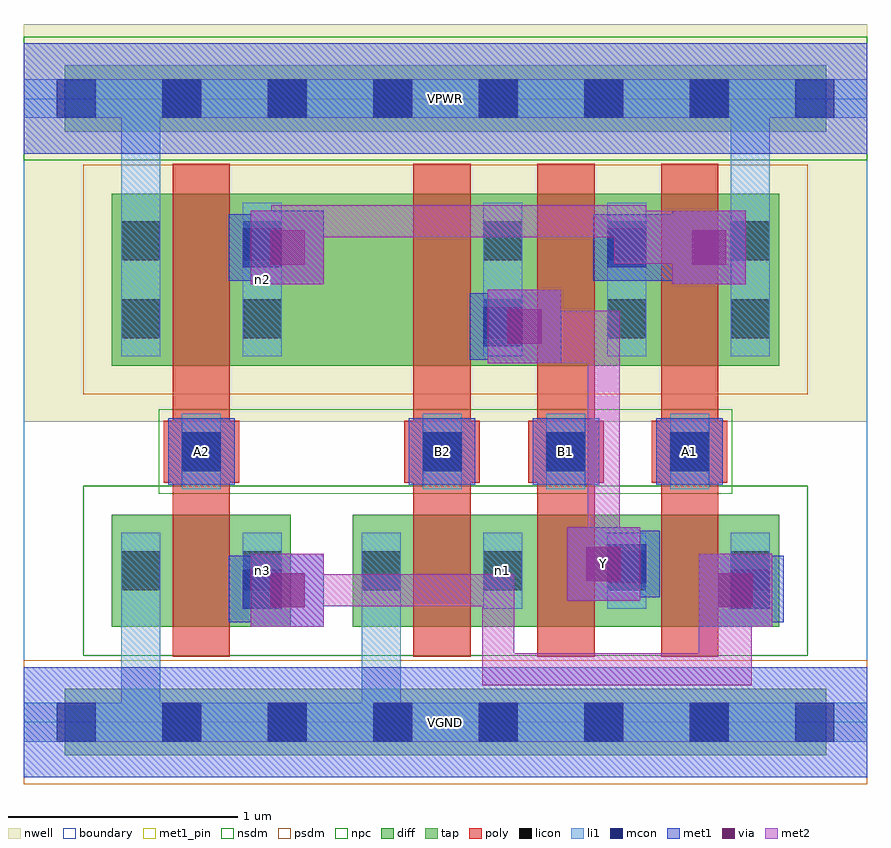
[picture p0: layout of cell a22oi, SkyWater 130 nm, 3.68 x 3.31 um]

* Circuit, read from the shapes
.subckt a22oi A1 A2 B1 B2 VGND VPWR Y n1 n2 n3
XM1 n3 A2 VGND VGND sky130_fd_pr__nfet_01v8 w=0.49 l=0.25
XM2 n1 B2 VGND VGND sky130_fd_pr__nfet_01v8 w=0.49 l=0.25
XM3 Y B1 n1 VGND sky130_fd_pr__nfet_01v8 w=0.49 l=0.25
XM4 n3 A1 Y VGND sky130_fd_pr__nfet_01v8 w=0.49 l=0.25
XM5 n2 A2 VPWR VPWR sky130_fd_pr__pfet_01v8 w=0.75 l=0.25
XM6 Y B2 n2 VPWR sky130_fd_pr__pfet_01v8 w=0.75 l=0.25
XM7 n2 B1 Y VPWR sky130_fd_pr__pfet_01v8 w=0.75 l=0.25
XM8 VPWR A1 n2 VPWR sky130_fd_pr__pfet_01v8 w=0.75 l=0.25
.ends

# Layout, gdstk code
import gdstk
lib = gdstk.Library(unit=1e-6, precision=1e-09)
def R(c, l, rs):  # rectangles x0, y0, x1, y1
    for r in rs: c.add(gdstk.rectangle(r[:2], r[2:], *l))
def A(c, l, x, y, w, h, nx, ny, dx, dy):  # array of equal rectangles
    R(c, l, [(x+i*dx, y+j*dy, x+i*dx+w, y+j*dy+h) for i in range(nx) for j in range(ny)])
nwell = (64, 20)
diff = (65, 20)
tap = (65, 44)
poly = (66, 20)
licon = (66, 44)
li1 = (67, 20)
mcon = (67, 44)
met1_pin = (68, 16)
met1 = (68, 20)
via = (68, 44)
met2 = (69, 20)
nsdm = (93, 44)
psdm = (94, 20)
npc = (95, 20)
boundary = (235, 4)

a22oi = lib.new_cell('a22oi')
R(a22oi, nwell, [(0,1.31,3.68,3.045)])
R(a22oi, diff, [(0.385,0.415,1.165,0.905), (1.435,0.415,3.295,0.905), (0.385,1.555,3.295,2.305)])
R(a22oi, tap, [(0.18,-0.145,3.5,0.145), (0.18,2.575,3.5,2.865)])
A(a22oi, poly, 1.7, 0.285, 0.25, 2.15, 3, 1, 0.54, 0)
A(a22oi, poly, 1.66, 1.045, 0.33, 0.27, 3, 1, 0.54, 0)
R(a22oi, poly, [(0.65,0.285,0.9,2.435), (0.61,1.045,0.94,1.315)])
A(a22oi, licon, 0.605, -0.085, 0.17, 0.17, 6, 2, 0.46, 2.72)
A(a22oi, licon, 2.005, 0.575, 0.17, 0.17, 3, 2, 0.54, 1.1)
A(a22oi, licon, 1.74, 1.095, 0.17, 0.17, 3, 1, 0.54, 0)
A(a22oi, licon, 2.005, 2.015, 0.17, 0.17, 3, 1, 0.54, 0)
R(a22oi, licon, [(0.425,0.575,0.595,0.745), (0.955,0.575,1.125,0.745), (1.475,0.575,1.645,0.745), (0.69,1.095,0.86,1.265), (0.425,1.675,0.595,1.845), (0.955,1.675,1.125,1.845), (0.425,2.015,0.595,2.185), (0.955,2.015,1.125,2.185)])
A(a22oi, li1, 2.005, 0.495, 0.17, 0.33, 3, 1, 0.54, 0)
A(a22oi, li1, 1.74, 1.015, 0.17, 0.33, 3, 1, 0.54, 0)
A(a22oi, li1, 2.005, 1.595, 0.17, 0.67, 3, 1, 0.54, 0)
R(a22oi, li1, [(0,-0.085,3.68,0.085), (0.425,-0.085,0.595,0.825), (1.475,-0.085,1.645,0.825), (0.425,0.495,0.595,0.825), (0.955,0.495,1.125,0.825), (1.475,0.495,1.645,0.825), (0.69,1.015,0.86,1.345), (0.425,1.595,0.595,2.265), (0.425,1.595,0.595,2.805), (0.955,1.595,1.125,2.265), (3.085,1.595,3.255,2.805), (0,2.635,3.68,2.805)])
A(a22oi, mcon, 0.145, -0.085, 0.17, 0.17, 8, 2, 0.46, 2.72)
A(a22oi, mcon, 1.74, 1.095, 0.17, 0.17, 3, 1, 0.54, 0)
R(a22oi, mcon, [(0.955,0.495,1.125,0.665), (3.085,0.495,3.255,0.665), (2.545,0.605,2.715,0.775), (0.69,1.095,0.86,1.265), (2.005,1.64,2.175,1.81), (0.955,1.985,1.125,2.155), (2.545,1.985,2.715,2.155)])
A(a22oi, met1_pin, 1.68, 1.035, 0.29, 0.29, 3, 1, 0.54, 0)
R(a22oi, met1_pin, [(0,-0.24,3.68,0.24), (2.37,0.53,2.69,0.85), (0.63,1.035,0.92,1.325), (0,2.48,3.68,2.96)])
A(a22oi, met1, 1.68, 1.035, 0.29, 0.29, 3, 1, 0.54, 0)
R(a22oi, met1, [(0,-0.24,3.68,0.24), (0.99,0.415,1.31,0.735), (2.945,0.415,3.265,0.735), (0.895,0.435,1.185,0.725), (3.025,0.435,3.315,0.725), (1.08,0.505,1.22,0.65), (3.035,0.505,3.175,0.65), (0.97,0.51,1.22,0.65), (3.035,0.51,3.24,0.65), (2.37,0.53,2.69,0.85), (2.485,0.545,2.775,0.835), (2.46,0.62,2.7,0.76), (0.63,1.035,0.92,1.325), (2.025,1.565,2.345,1.885), (1.945,1.58,2.235,1.87), (2.02,1.655,2.255,1.795), (0.99,1.91,1.31,2.23), (2.83,1.91,3.15,2.23), (0.895,1.925,1.185,2.215), (2.485,1.925,2.775,2.215), (2.775,1.925,2.83,2.215), (0.97,2,1.22,2.14), (2.56,2,2.83,2.14), (2.69,2,3.06,2.14), (0,2.48,3.68,2.96)])
R(a22oi, via, [(1.075,0.5,1.225,0.65), (3.03,0.5,3.18,0.65), (2.455,0.615,2.605,0.765), (2.11,1.65,2.26,1.8), (1.075,1.995,1.225,2.145), (2.915,1.995,3.065,2.145)])
R(a22oi, met2, [(2,0.16,2.14,0.645), (2,0.16,3.175,0.3), (3.035,0.16,3.175,0.645), (2.945,0.3,3.175,0.415), (0.99,0.415,1.31,0.735), (2.945,0.415,3.265,0.735), (1.08,0.505,2.14,0.645), (2.37,0.53,2.69,0.85), (2.46,0.62,2.6,1.795), (2.025,1.565,2.345,1.885), (2.345,1.565,2.46,1.795), (2.115,1.655,2.6,1.795), (0.99,1.91,1.31,2.23), (2.83,1.91,3.15,2.23), (1.08,2,1.22,2.255), (2.575,2,3.06,2.14), (2.575,2,2.715,2.255), (2.715,2,2.83,2.23), (1.08,2.115,2.715,2.255), (2.715,2.115,2.83,2.23)])
R(a22oi, nsdm, [(0.26,0.29,3.42,1.03), (0,2.45,3.68,2.99)])
R(a22oi, psdm, [(0,-0.27,3.68,0.27), (0.26,1.43,3.42,2.43)])
R(a22oi, npc, [(0.59,0.995,3.09,1.365)])
R(a22oi, boundary, [(0,0,3.68,2.72)])
a22oi.add(gdstk.Label('n2', (1.04,1.93), layer=67, texttype=5))
a22oi.add(gdstk.Label('n3', (1.04,0.66), layer=67, texttype=5))
a22oi.add(gdstk.Label('n1', (2.09,0.66), layer=67, texttype=5))
a22oi.add(gdstk.Label('A1', (2.905,1.18), layer=68, texttype=5))
a22oi.add(gdstk.Label('A2', (0.775,1.18), layer=68, texttype=5))
a22oi.add(gdstk.Label('B1', (2.365,1.18), layer=68, texttype=5))
a22oi.add(gdstk.Label('B2', (1.825,1.18), layer=68, texttype=5))
a22oi.add(gdstk.Label('Y', (2.53,0.69), layer=68, texttype=5))
a22oi.add(gdstk.Label('VPWR', (1.84,2.72), layer=68, texttype=5))
a22oi.add(gdstk.Label('VGND', (1.84,0), layer=68, texttype=5))
a22oi.add(gdstk.Label('A1', (2.905,1.18), layer=68, texttype=16))
a22oi.add(gdstk.Label('A2', (0.775,1.18), layer=68, texttype=16))
a22oi.add(gdstk.Label('B1', (2.365,1.18), layer=68, texttype=16))
a22oi.add(gdstk.Label('B2', (1.825,1.18), layer=68, texttype=16))
a22oi.add(gdstk.Label('Y', (2.53,0.69), layer=68, texttype=16))
a22oi.add(gdstk.Label('VPWR', (1.84,2.72), layer=68, texttype=16))
a22oi.add(gdstk.Label('VGND', (1.84,0), layer=68, texttype=16))

lib.write_gds('a22oi.gds')
